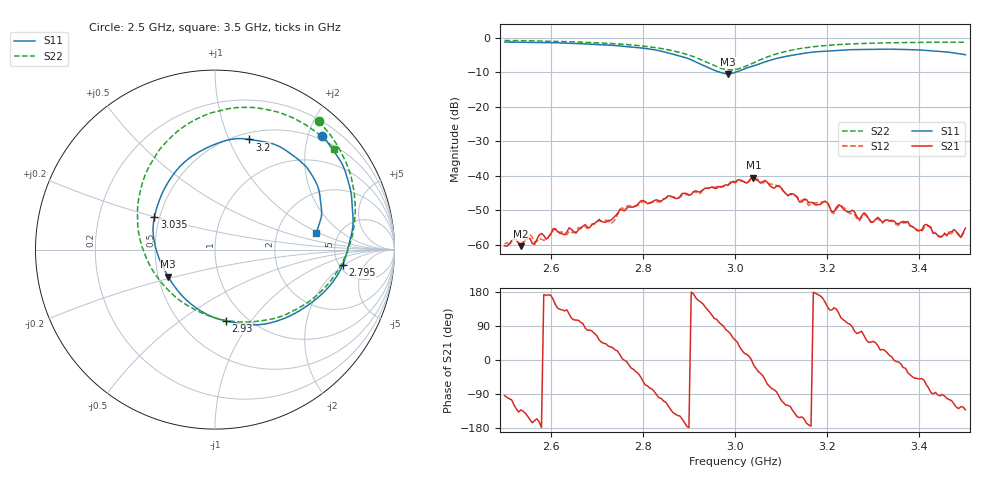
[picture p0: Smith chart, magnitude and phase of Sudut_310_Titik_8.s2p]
# Hz S RI R 50
! CMT, C1220, 16058040, 17.2.0/1
! Date: 15/08/2018 09:58:44
! Data: Format (Calibration Info)
! Freq  S11: Re/Im (F2)  S21: Re/Im (F2)  S12: Re/Im (F2)  S22: Re/Im (F2)
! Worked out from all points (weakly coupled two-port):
!   201 points, 2.5 GHz to 3.5 GHz, reference 50 ohm
!   highest |S21| = -40.54 dB at 3.04 GHz (marker M1); lowest = -60.4 dB at 2.535 GHz (marker M2)
!   lowest |S11| = -10.4 dB at 2.985 GHz (marker M3), VSWR 1.86, Z = 28.2 - j9.32 ohm
!   |S11| at or under -10 dB: 2.968 GHz to 3 GHz (32.1 MHz wide, 1.08 % of centre)
!   |S22| runs from -9.3 to -0.7 dB; largest |S21 - S12| = 0.00072
!   S11 on the Smith chart (normalised r, x): 2.5 GHz: 0.43, +2.25; 2.795 GHz: 5.37, -1.89; 2.93 GHz: 0.80, -0.76; 3.035 GHz: 0.47, +0.20; 3.2 GHz: 0.57, +1.19; 3.5 GHz: 3.37, +0.95
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2.5e9  0.5974 0.6343  -6.65e-05 -0.000964  -2.6e-05 -0.00103  0.5773 0.7142
2.535e9  0.6385 0.5825  -0.000638 -0.000708  -0.000632 -0.000725  0.6162 0.6713
2.555e9  0.657 0.5551  -0.00114 -0.000475  -0.00133 -0.00052  0.6383 0.6457
2.565e9  0.6685 0.5392  -0.00095 -0.000344  -0.00106 -0.000165  0.6487 0.6307
2.605e9  0.7114 0.4703  -0.00161 0.000555  -0.0015 0.000514  0.689 0.5665
2.67e9  0.7578 0.3189  -0.000193 0.00185  -5.19e-06 0.00183  0.7476 0.44
2.73e9  0.7695 0.1494  0.00186 0.00127  0.00176 0.00103  0.778 0.2885
2.795e9  0.7117 -0.0856  0.00307 -0.00299  0.0029 -0.00283  0.7647 0.0758
2.835e9  0.6101 -0.2338  -0.000722 -0.00428  -0.000599 -0.00412  0.7056 -0.0792
2.93e9  0.0602 -0.3976  -0.00534 0.00324  -0.00541 0.00287  0.2525 -0.3971
2.985e9  -0.2609 -0.1503  0.00182 0.00706  0.00155 0.00718  -0.1782 -0.2962
3e9  -0.3121 -0.048  0.00479 0.00634  0.00513 0.00607  -0.2772 -0.2081
3.035e9  -0.3372 0.1824  0.00921 0.000334  0.00915 0.000471  -0.4176 0.0543
3.04e9  -0.3299 0.2137  0.00919 -0.00197  0.0094 -0.0017  -0.426 0.096
3.17e9  0.0966 0.6153  -0.004 8.26e-05  -0.00407 -0.000238  -0.0733 0.7409
3.2e9  0.1915 0.6137  -0.00323 0.00251  -0.00318 0.00269  0.0378 0.7763
3.215e9  0.2393 0.6064  -0.00223 0.00202  -0.00197 0.00204  0.0907 0.7878
3.23e9  0.2845 0.5985  -0.00132 0.00341  -0.00155 0.00338  0.14 0.792
3.27e9  0.3811 0.5618  0.000685 0.00221  0.000582 0.00215  0.2598 0.7855
3.335e9  0.508 0.4612  0.00218 0.000466  0.00217 0.000371  0.4142 0.7426
3.445e9  0.5931 0.2265  -0.0001 -0.00131  -4.13e-05 -0.00128  0.5975 0.6264
3.5e9  0.5626 0.0952  -0.00115 -0.00131  -0.00107 -0.00116  0.6624 0.5596
